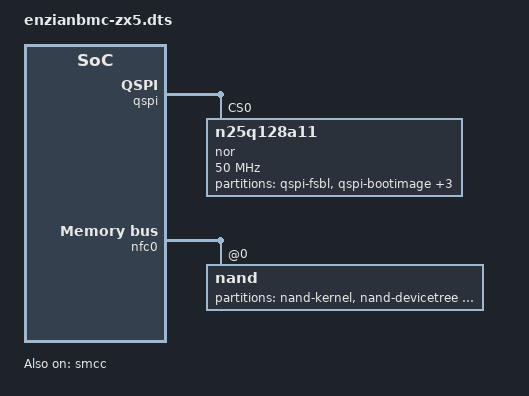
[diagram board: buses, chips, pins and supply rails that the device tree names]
/* The includes in this device tree file are the ones
 * that the enclustra-bsb-xilinx uses
 * (except for the PE1 carrier board one, that we don't need)
 * The rest is custom for the Enzian BMC
 */

/dts-v1/;

#include "ME-ZX5-15-2I-D10.dtsi"

/ {
    chosen {
        stdout-path = "serial0:115200n8";
    };

    /* Offset of the boot FIT in QSPI flash */
    config {
        u-boot,spl-payload-offset = <0x01000000>;
    };
};

/* From zynq_enclustra_qspi_parts.dtsi
 * partition layout adapted
 */
&qspi {
	u-boot,dm-pre-reloc;
	status = "okay";
	is-dual = <0>;
	num-cs = <1>;

	nor@0 {
		compatible = "n25q128a11";
		reg = <0x0>;
		spi-tx-bus-width = <1>;
		spi-rx-bus-width = <4>;
		spi-max-frequency = <50000000>;

        partitions {
            compatible = "fixed-partitions";
            #address-cells = <1>;
		    #size-cells = <1>;

            partition@0 {
                label = "qspi-fsbl";
                reg = <0x0000000 0x1000000>;
            };
            partition@1000000 {
                label = "qspi-bootimage";
                reg = <0x1000000 0xf00000>;
            };
            partition@1f00000 {
                label = "qspi-bootenv";
                reg = <0x1f00000 0x80000>;
            };
            partition@1f80000 {
                label = "qspi-bootscript";
                reg = <0x1f80000 0x80000>;
            };
            partition@2000000 {
                label = "qspi-fitimage";
                reg = <0x2000000 0x2000000>;
            };
        };
	};
};

/* From zynq_enclustra_nand_parts.dtsi
 * partition layout adapted
 */
&smcc {
	status = "okay";
};

&nfc0 {
	status = "okay";

	nand@0 {
		reg = <0>;
        /* Enclustra puts these on the parent
         * but need to be here
         */
        nand-ecc-mode = "on-die";
	    nand-bus-width = <0x8>;

        partitions {
            compatible = "fixed-partitions";
		    #address-cells = <1>;
		    #size-cells = <1>;

            partition@0 {
                label = "nand-kernel";
                reg = <0x0000000 0x2000000>;
            };
            partition@2000000 {
                label = "nand-devicetree";
                reg = <0x2000000 0x80000>;
            };
            partition@2080000 {
                label = "nand-bootscript";
                reg = <0x2080000 0x80000>;
            };
            partition@2100000 {
                label = "nand-rootfs";
                reg = <0x2100000 0x1DF00000>;
            };
        };
	};
};

/********************** 
 * Programmable logic *
 **********************/
&fpga_full {
	/* Nothing needed in U-Boot */
};
